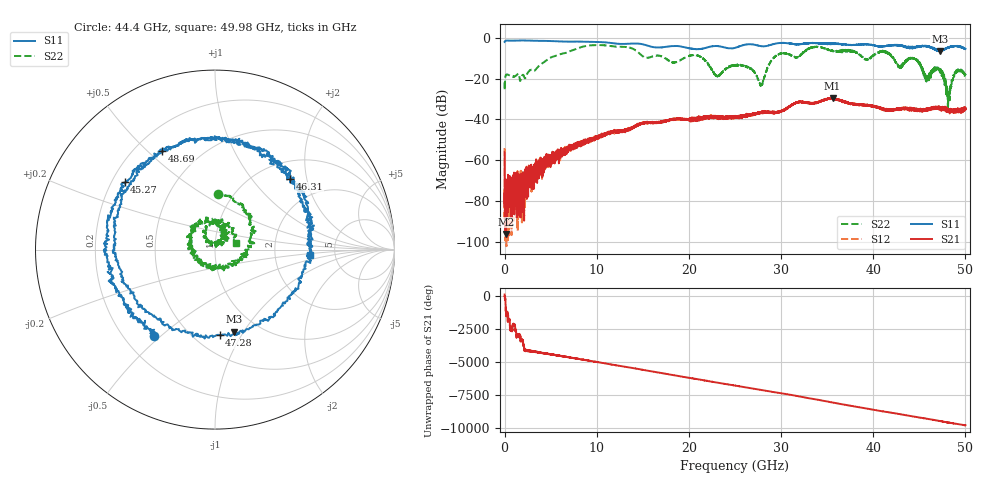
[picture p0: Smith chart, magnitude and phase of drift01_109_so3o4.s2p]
!Created with skrf (http://scikit-rf.org).
# Hz S RI R 50.0
!freq ReS11 ImS11 ReS21 ImS21 ReS12 ImS12 ReS22 ImS22
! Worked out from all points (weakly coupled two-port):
!   10001 points, 300 kHz to 50 GHz, reference 50 ohm
!   highest |S21| = -29.49 dB at 35.59 GHz (marker M1); lowest = -96.1 dB at 120.3 MHz (marker M2)
!   lowest |S11| = -6.6 dB at 47.21 GHz (marker M3), VSWR 2.77, Z = 38.6 - j45.3 ohm
!   |S11| at or under -10 dB: nowhere
!   |S22| runs from -36.7 to -3.6 dB; largest |S21 - S12| = 0.0035
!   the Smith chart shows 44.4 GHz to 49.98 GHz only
!   S11 on the Smith chart (normalised r, x): 44.4 GHz: 0.32, -0.48; 45.27 GHz: 0.25, +0.31; 46.31 GHz: 1.35, +1.60; 47.28 GHz: 0.65, -0.81; 48.69 GHz: 0.31, +0.55; 49.98 GHz: 3.21, -0.27
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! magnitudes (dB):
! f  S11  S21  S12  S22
! 300 kHz  -2.1  -56.1  -54.1  -21.7
! 120.3 MHz  -1.5  -96.1  -79.8  -18.4
! 1.64 GHz  -1.4  -68.6  -70.8  -20.5
! 8.335 GHz  -1.9  -50.5  -51.4  -4.5
! 16.67 GHz  -4.8  -41.8  -41.4  -8.7
! 20.97 GHz  -5.6  -39.9  -39.9  -8.7
! 23.09 GHz  -4.1  -38.8  -38.5  -18.8
! 25 GHz  -5.0  -38.9  -38.7  -13.8
! 27.84 GHz  -4.1  -36.9  -36.7  -23.1
! 29.46 GHz  -2.8  -36.6  -36.5  -8.8
! 33.34 GHz  -2.6  -32.1  -32.0  -4.7
! 35.59 GHz  -2.9  -29.5  -29.7  -6.5
! 41.67 GHz  -3.8  -35.3  -35.2  -7.9
! 44.4 GHz  -4.6  -35.3  -35.4  -10.1
! 45.27 GHz  -4.0  -36.2  -35.5  -14.3
! 46.31 GHz  -4.8  -34.7  -34.9  -16.8
! 47.21 GHz  -6.6  -34.0  -34.4  -16.4
! 47.28 GHz  -6.4  -34.5  -34.4  -16.4
! 48.13 GHz  -4.8  -35.2  -35.2  -30.7
! 48.69 GHz  -4.1  -35.6  -36.1  -18.8
! 49.98 GHz  -5.6  -34.1  -34.0  -18.2
! 50 GHz  -5.5  -34.7  -34.9  -18.4
